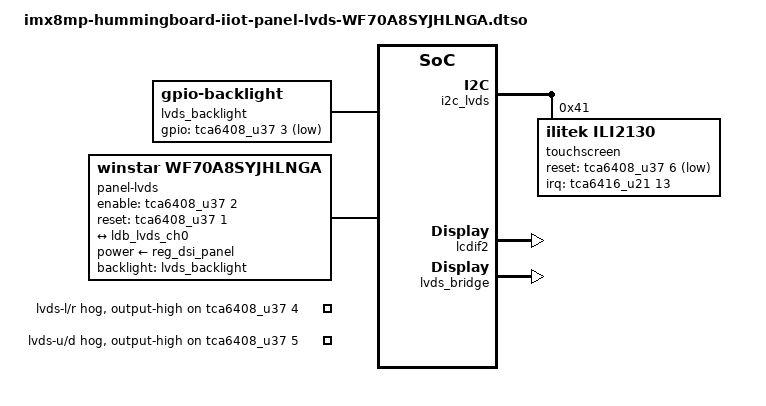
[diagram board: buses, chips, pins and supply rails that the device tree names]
// SPDX-License-Identifier: (GPL-2.0+ OR MIT)
/*
 * Copyright 2025 Josua Mayer <josua@solid-run.com>
 *
 * Overlay for enabling HummingBoard IIoT LVDS connector
 * with Winstar WF70A8SYJHLNGA panel.
 */

/dts-v1/;
/plugin/;

#include <dt-bindings/gpio/gpio.h>
#include <dt-bindings/interrupt-controller/irq.h>

&{/} {
	lvds_backlight: lvds-backlight {
		compatible = "gpio-backlight";
		gpios = <&tca6408_u37 3 GPIO_ACTIVE_LOW>;
	};

	panel-lvds {
		compatible = "winstar,wf70a8syjhlnga", "panel-lvds";
		backlight = <&lvds_backlight>;
		data-mapping = "vesa-24";
		enable-gpios = <&tca6408_u37 2 GPIO_ACTIVE_HIGH>;
		height-mm = <86>;
		power-supply = <&reg_dsi_panel>;
		reset-gpios = <&tca6408_u37 1 GPIO_ACTIVE_HIGH>;
		width-mm = <154>;

		panel-timing {
			/*
			 * Note: NXP BSP hard-codes 74MHz clock in ldb driver:
			 * drivers/gpu/drm/imx/imx8mp-ldb.c
			 * SolidRun BSP carries patch.
			 */
			clock-frequency = <49500000>;
			de-active = <1>;
			hactive = <1024>;
			hback-porch = <144>;
			hfront-porch = <40>;
			hsync-active = <0>;
			hsync-len = <104>;
			vactive = <600>;
			vback-porch = <11>;
			vfront-porch = <3>;
			vsync-active = <1>;
			vsync-len = <10>;
		};

		port {
			panel_from_lvds: endpoint {
				remote-endpoint = <&ldb_lvds_ch0>;
			};
		};
	};
};

&i2c_lvds {
	#address-cells = <1>;
	#size-cells = <0>;

	touchscreen@41 {
		compatible = "ilitek,ili2130";
		reg = <0x41>;
		interrupts-extended = <&tca6416_u21 13 IRQ_TYPE_LEVEL_LOW>;
		reset-gpios = <&tca6408_u37 6 GPIO_ACTIVE_LOW>;
	};
};

&lcdif2 {
	status = "okay";
};

&ldb_lvds_ch0 {
	remote-endpoint = <&panel_from_lvds>;
};

&lvds_bridge {
	status = "okay";
};

&tca6408_u37 {
	lvds-lr-hog {
		gpios = <4 GPIO_ACTIVE_HIGH>;
		gpio-hog;
		line-name = "lvds-l/r";
		output-high;
	};

	lvds-ud-hog {
		gpios = <5 GPIO_ACTIVE_HIGH>;
		gpio-hog;
		line-name = "lvds-u/d";
		output-high;
	};
};
